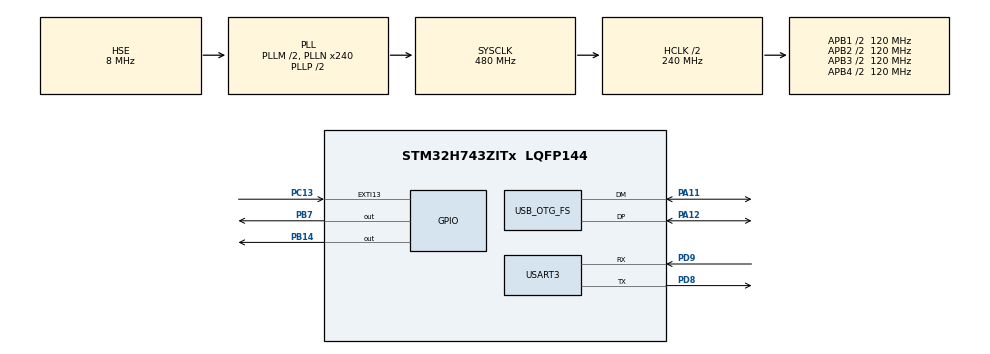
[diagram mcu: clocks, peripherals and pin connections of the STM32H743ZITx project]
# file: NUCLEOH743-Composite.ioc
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CORTEX_M7.default_mode_Activation=1
Dma.Request0=USART3_RX
Dma.Request1=USART3_TX
Dma.USART3_RX.0.Direction=DMA_PERIPH_TO_MEMORY
Dma.USART3_RX.0.EventEnable=DISABLE
Dma.USART3_RX.0.FIFOMode=DMA_FIFOMODE_DISABLE
Dma.USART3_RX.0.Instance=DMA1_Stream0
Dma.USART3_RX.0.MemDataAlignment=DMA_MDATAALIGN_BYTE
Dma.USART3_RX.0.MemInc=DMA_MINC_ENABLE
Dma.USART3_RX.0.Mode=DMA_NORMAL
Dma.USART3_RX.0.PeriphDataAlignment=DMA_PDATAALIGN_BYTE
Dma.USART3_RX.0.PeriphInc=DMA_PINC_DISABLE
Dma.USART3_RX.0.Polarity=HAL_DMAMUX_REQ_GEN_RISING
Dma.USART3_RX.0.Priority=DMA_PRIORITY_LOW
Dma.USART3_RX.0.RequestNumber=1
Dma.USART3_RX.0.SignalID=NONE
Dma.USART3_RX.0.SyncEnable=DISABLE
Dma.USART3_RX.0.SyncPolarity=HAL_DMAMUX_SYNC_NO_EVENT
Dma.USART3_RX.0.SyncRequestNumber=1
Dma.USART3_RX.0.SyncSignalID=NONE
Dma.USART3_TX.1.Direction=DMA_MEMORY_TO_PERIPH
Dma.USART3_TX.1.EventEnable=DISABLE
Dma.USART3_TX.1.FIFOMode=DMA_FIFOMODE_DISABLE
Dma.USART3_TX.1.Instance=DMA1_Stream1
Dma.USART3_TX.1.MemDataAlignment=DMA_MDATAALIGN_BYTE
Dma.USART3_TX.1.MemInc=DMA_MINC_ENABLE
Dma.USART3_TX.1.Mode=DMA_NORMAL
Dma.USART3_TX.1.PeriphDataAlignment=DMA_PDATAALIGN_BYTE
Dma.USART3_TX.1.PeriphInc=DMA_PINC_DISABLE
Dma.USART3_TX.1.Polarity=HAL_DMAMUX_REQ_GEN_RISING
Dma.USART3_TX.1.Priority=DMA_PRIORITY_LOW
Dma.USART3_TX.1.RequestNumber=1
Dma.USART3_TX.1.SignalID=NONE
Dma.USART3_TX.1.SyncEnable=DISABLE
Dma.USART3_TX.1.SyncPolarity=HAL_DMAMUX_SYNC_NO_EVENT
Dma.USART3_TX.1.SyncRequestNumber=1
Dma.USART3_TX.1.SyncSignalID=NONE
Mcu.Family=STM32H7
Mcu.Name=STM32H743ZITx
Mcu.Package=LQFP144
NUCLEO-H743ZI.BUTTON=1
NUCLEO-H743ZI.LD1=true
NUCLEO-H743ZI.LD2=true
NUCLEO-H743ZI.LD3=true
NUCLEO-H743ZI.VCP=false
NVIC.DMA1_Stream0_IRQn=true\:0\:0\:false\:false\:true\:false\:true\:true
NVIC.DMA1_Stream1_IRQn=true\:0\:0\:false\:false\:true\:false\:true\:true
NVIC.EXTI15_10_IRQn=true\:0\:0\:false\:false\:true\:false\:true\:true
NVIC.OTG_FS_EP1_IN_IRQn=true\:0\:0\:false\:false\:true\:true\:true\:true
NVIC.OTG_FS_EP1_OUT_IRQn=true\:0\:0\:false\:false\:true\:true\:true\:true
NVIC.OTG_FS_IRQn=true\:0\:0\:false\:false\:true\:true\:true\:true
NVIC.PriorityGroup=NVIC_PRIORITYGROUP_4
NVIC.TIM15_IRQn=true\:15\:0\:false\:false\:true\:false\:true\:true
NVIC.TimeBase=TIM15_IRQn
NVIC.TimeBaseIP=TIM15
NVIC.USART3_IRQn=true\:0\:0\:false\:false\:true\:true\:true\:true
PA11.Mode=Device_Only
PA11.Signal=USB_OTG_FS_DM
PA12.Mode=Device_Only
PA12.Signal=USB_OTG_FS_DP
PA13\ (JTMS/SWDIO).GPIO_Label=TMS
PA13\ (JTMS/SWDIO).Mode=Serial_Wire
PA13\ (JTMS/SWDIO).Signal=DEBUG_JTMS-SWDIO
PA14\ (JTCK/SWCLK).GPIO_Label=TCK
PA14\ (JTCK/SWCLK).Mode=Serial_Wire
PA14\ (JTCK/SWCLK).Signal=DEBUG_JTCK-SWCLK
PB14.Signal=GPIO_Output
PB3\ (JTDO/TRACESWO).GPIO_Label=SWO
PB3\ (JTDO/TRACESWO).Signal=DEBUG_JTDO-SWO
PB7.Signal=GPIO_Output
PC13.Signal=GPXTI13
PC14-OSC32_IN\ (OSC32_IN).Signal=RCC_OSC32_IN
PC15-OSC32_OUT\ (OSC32_OUT).Signal=RCC_OSC32_OUT
PD8.Mode=Asynchronous
PD8.Signal=USART3_TX
PD9.Mode=Asynchronous
PD9.Signal=USART3_RX
PH0-OSC_IN\ (PH0).Mode=HSE-External-Clock-Source
PH0-OSC_IN\ (PH0).Signal=RCC_OSC_IN
ProjectManager.HeapSize=0x200
ProjectManager.StackSize=0x400
ProjectManager.TargetToolchain=STM32CubeIDE
RCC.48MHZClocksFreq_Value=24000000
RCC.ADCFreq_Value=480000000
RCC.AHBFreq_Value=216000000
RCC.APB1CLKDivider=RCC_HCLK_DIV4
RCC.APB1Freq_Value=120000000
RCC.APB1TimFreq_Value=108000000
RCC.APB2CLKDivider=RCC_HCLK_DIV2
RCC.APB2Freq_Value=120000000
RCC.APB2TimFreq_Value=216000000
RCC.APB3Freq_Value=120000000
RCC.APB4Freq_Value=120000000
RCC.CortexFreq_Value=480000000
RCC.D1PPRE=RCC_APB3_DIV2
RCC.D2PPRE1=RCC_APB1_DIV2
RCC.D2PPRE2=RCC_APB2_DIV2
RCC.D3PPRE=RCC_APB4_DIV2
RCC.DIVM1=2
RCC.DIVM2=2
RCC.DIVM3=2
RCC.DIVN1=240
RCC.DIVN2=240
RCC.DIVN3=240
RCC.DIVQ1=4
RCC.DIVQ3=20
RCC.HCLKFreq_Value=240000000
RCC.HPRE=RCC_HCLK_DIV2
RCC.HSE_VALUE=8000000
RCC.HSI_VALUE=64000000
RCC.PLLM=25
RCC.PLLMUL=RCC_PLL_MUL9
RCC.PLLN=432
RCC.PLLQ=9
RCC.PLLSourceVirtual=RCC_PLLSOURCE_HSE
RCC.PRESCALERUSB=RCC_USBCLKSOURCE_PLL_DIV1_5
RCC.PWR_Regulator_Voltage_Scale=PWR_REGULATOR_VOLTAGE_SCALE0
RCC.SYSCLKFreq_VALUE=480000000
RCC.SYSCLKSource=RCC_SYSCLKSOURCE_PLLCLK
RCC.SYSCLKSourceVirtual=RCC_SYSCLKSOURCE_PLLCLK
RCC.USBCLockSelection=RCC_USBCLKSOURCE_PLL3
RCC.USBFreq_Value=48000000
RCC.VCOOutputFreq_Value=432000000
USART3.VirtualMode-Asynchronous=VM_ASYNC
USB_OTG_FS.VirtualMode=Device_Only
VP_CRC_VS_CRC.Mode=CRC_Activate
VP_MEMORYMAP_VS_MEMORYMAP.Mode=CurAppReg
VP_NUCLEO-H743ZI_VS_BSP_COMMON.Mode=COMMON
VP_SYS_VS_tim15.Mode=TIM15
board=NUCLEO-H743ZI

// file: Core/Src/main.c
/* USER CODE BEGIN Header */
/**
 ******************************************************************************
 * @file           : main.c
 * @brief          : Main program body
 ******************************************************************************
 * @attention
 *
 * Copyright (c) 2025 STMicroelectronics.
 * All rights reserved.
 *
 * This software is licensed under terms that can be found in the LICENSE file
 * in the root directory of this software component.
 * If no LICENSE file comes with this software, it is provided AS-IS.
 *
 ******************************************************************************
 */
/* USER CODE END Header */
#include "main.h"

/* USER CODE BEGIN Includes */
#include "logging.h"

#include "usbd_core.h"
#include "usbd_cdc.h"
#include "usbd_cdc_if.h"
#include "usbd_hid.h"
#include "usbd_desc.h"
#include "usbd_composite_builder.h"

#include <stdio.h>

/* USER CODE END Includes */

CRC_HandleTypeDef hcrc;

UART_HandleTypeDef huart3;
DMA_HandleTypeDef hdma_usart3_rx;
DMA_HandleTypeDef hdma_usart3_tx;

PCD_HandleTypeDef hpcd_USB_OTG_FS;

/* USER CODE BEGIN PV */
uint8_t CDC_EpAdd_Inst[3] = {CDC_IN_EP, CDC_OUT_EP, CDC_CMD_EP}; /* CDC Endpoint Addresses array */
uint8_t HID_EpAdd_Inst = HID_EPIN_ADDR;                          /* HID Endpoint Address array */

USBD_HandleTypeDef hUsbDeviceFS;

uint8_t hid_report_buffer[4];

uint8_t HID_InstID = 0, CDC_InstID = 0;

volatile uint8_t button_pressed_flag = 0;

/* USER CODE END PV */

void SystemClock_Config(void);
static void MPU_Config(void);
static void MX_GPIO_Init(void);
static void MX_DMA_Init(void);
static void MX_CRC_Init(void);
static void MX_USART3_UART_Init(void);

int main(void)
{

  /* USER CODE BEGIN 1 */
  hid_report_buffer[0] = 0;
  hid_report_buffer[1] = 100;
  hid_report_buffer[2] = 0;
  hid_report_buffer[3] = 0;

  /* USER CODE END 1 */

  /* MPU Configuration--------------------------------------------------------*/
  MPU_Config();

  /* MCU Configuration--------------------------------------------------------*/

  /* Reset of all peripherals, Initializes the Flash interface and the Systick. */
  HAL_Init();

  /* Configure the system clock */
  SystemClock_Config();

  /* Initialize all configured peripherals */
  MX_GPIO_Init();
  MX_DMA_Init();
  MX_CRC_Init();
  MX_USART3_UART_Init();
  /* USER CODE BEGIN 2 */
  // start logging to console
  init_dma_logging();

  printf("\033c");
  printf("DUVITECH LLC\r\n");
  printf("USB Composite Demo LLC\r\n");

  printf("Initializing Composite USB Device\r\n");

  /* Initialize the USB Device Library */
  if (USBD_Init(&hUsbDeviceFS, &Class_Desc, 0) != USBD_OK)
  {
    Error_Handler();
  }

  /* Store HID Instance Class ID */
  HID_InstID = hUsbDeviceFS.classId;

  /* Register the HID Class */
  if (USBD_RegisterClassComposite(&hUsbDeviceFS, USBD_HID_CLASS, CLASS_TYPE_HID, &HID_EpAdd_Inst) != USBD_OK)
    Error_Handler();

  /* Store the HID Class */
  CDC_InstID = hUsbDeviceFS.classId;

  /* Register CDC Class First Instance */
  if (USBD_RegisterClassComposite(&hUsbDeviceFS, USBD_CDC_CLASS, CLASS_TYPE_CDC, CDC_EpAdd_Inst) != USBD_OK)
    Error_Handler();

  /* Add CDC Interface Class */
  if (USBD_CMPSIT_SetClassID(&hUsbDeviceFS, CLASS_TYPE_CDC, 0) != 0xFF)
  {
    USBD_CDC_RegisterInterface(&hUsbDeviceFS, &USBD_Interface_fops);
  }

  USBD_Start(&hUsbDeviceFS);
  button_pressed_flag = 0;
  /* USER CODE END 2 */

  /* Initialize leds */
  BSP_LED_Init(LED_GREEN);
  BSP_LED_Init(LED_BLUE);
  BSP_LED_Init(LED_RED);

  /* Initialize USER push-button, will be used to trigger an interrupt each time it's pressed.*/
  BSP_PB_Init(BUTTON_USER, BUTTON_MODE_EXTI);

  printf("Composite USB Device Ready!\r\nPress USER Button to send Message on VCP and HID\r\n");
  /* Infinite loop */
  while (1)
  {

    /* USER CODE BEGIN 3 */
    if (button_pressed_flag == 1)
    {
      USBD_HID_SendReport(&hUsbDeviceFS, hid_report_buffer, 4, HID_InstID);
      CDC_Transmit(&hUsbDeviceFS, (uint8_t*)"Hello\r\n", 7, CDC_InstID);
      HAL_Delay(100);
      button_pressed_flag = 0;
    }
    else
    {
      BSP_LED_Toggle(LED_BLUE);
      HAL_Delay(250);
    }
  }
  /* USER CODE END 3 */
}

void SystemClock_Config(void)
{
  RCC_OscInitTypeDef RCC_OscInitStruct = {0};
  RCC_ClkInitTypeDef RCC_ClkInitStruct = {0};

  /** Supply configuration update enable
   */
  HAL_PWREx_ConfigSupply(PWR_LDO_SUPPLY);

  /** Configure the main internal regulator output voltage
   */
  __HAL_PWR_VOLTAGESCALING_CONFIG(PWR_REGULATOR_VOLTAGE_SCALE0);

  while (!__HAL_PWR_GET_FLAG(PWR_FLAG_VOSRDY))
  {
  }

  /** Initializes the RCC Oscillators according to the specified parameters
   * in the RCC_OscInitTypeDef structure.
   */
  RCC_OscInitStruct.OscillatorType = RCC_OSCILLATORTYPE_HSE;
  RCC_OscInitStruct.HSEState = RCC_HSE_BYPASS;
  RCC_OscInitStruct.PLL.PLLState = RCC_PLL_ON;
  RCC_OscInitStruct.PLL.PLLSource = RCC_PLLSOURCE_HSE;
  RCC_OscInitStruct.PLL.PLLM = 2;
  RCC_OscInitStruct.PLL.PLLN = 240;
  RCC_OscInitStruct.PLL.PLLP = 2;
  RCC_OscInitStruct.PLL.PLLQ = 4;
  RCC_OscInitStruct.PLL.PLLR = 2;
  RCC_OscInitStruct.PLL.PLLRGE = RCC_PLL1VCIRANGE_2;
  RCC_OscInitStruct.PLL.PLLVCOSEL = RCC_PLL1VCOWIDE;
  RCC_OscInitStruct.PLL.PLLFRACN = 0;
  if (HAL_RCC_OscConfig(&RCC_OscInitStruct) != HAL_OK)
  {
    Error_Handler();
  }

  /** Initializes the CPU, AHB and APB buses clocks
   */
  RCC_ClkInitStruct.ClockType = RCC_CLOCKTYPE_HCLK | RCC_CLOCKTYPE_SYSCLK | RCC_CLOCKTYPE_PCLK1 | RCC_CLOCKTYPE_PCLK2 | RCC_CLOCKTYPE_D3PCLK1 | RCC_CLOCKTYPE_D1PCLK1;
  RCC_ClkInitStruct.SYSCLKSource = RCC_SYSCLKSOURCE_PLLCLK;
  RCC_ClkInitStruct.SYSCLKDivider = RCC_SYSCLK_DIV1;
  RCC_ClkInitStruct.AHBCLKDivider = RCC_HCLK_DIV2;
  RCC_ClkInitStruct.APB3CLKDivider = RCC_APB3_DIV2;
  RCC_ClkInitStruct.APB1CLKDivider = RCC_APB1_DIV2;
  RCC_ClkInitStruct.APB2CLKDivider = RCC_APB2_DIV2;
  RCC_ClkInitStruct.APB4CLKDivider = RCC_APB4_DIV2;

  if (HAL_RCC_ClockConfig(&RCC_ClkInitStruct, FLASH_LATENCY_4) != HAL_OK)
  {
    Error_Handler();
  }
}

static void MX_CRC_Init(void)
{

  hcrc.Instance = CRC;
  hcrc.Init.DefaultPolynomialUse = DEFAULT_POLYNOMIAL_ENABLE;
  hcrc.Init.DefaultInitValueUse = DEFAULT_INIT_VALUE_ENABLE;
  hcrc.Init.InputDataInversionMode = CRC_INPUTDATA_INVERSION_NONE;
  hcrc.Init.OutputDataInversionMode = CRC_OUTPUTDATA_INVERSION_DISABLE;
  hcrc.InputDataFormat = CRC_INPUTDATA_FORMAT_BYTES;
  if (HAL_CRC_Init(&hcrc) != HAL_OK)
  {
    Error_Handler();
  }
}

static void MX_USART3_UART_Init(void)
{

  huart3.Instance = USART3;
  huart3.Init.BaudRate = 115200;
  huart3.Init.WordLength = UART_WORDLENGTH_8B;
  huart3.Init.StopBits = UART_STOPBITS_1;
  huart3.Init.Parity = UART_PARITY_NONE;
  huart3.Init.Mode = UART_MODE_TX_RX;
  huart3.Init.HwFlowCtl = UART_HWCONTROL_NONE;
  huart3.Init.OverSampling = UART_OVERSAMPLING_16;
  huart3.Init.OneBitSampling = UART_ONE_BIT_SAMPLE_DISABLE;
  huart3.Init.ClockPrescaler = UART_PRESCALER_DIV1;
  huart3.AdvancedInit.AdvFeatureInit = UART_ADVFEATURE_NO_INIT;
  if (HAL_UART_Init(&huart3) != HAL_OK)
  {
    Error_Handler();
  }
  if (HAL_UARTEx_SetTxFifoThreshold(&huart3, UART_TXFIFO_THRESHOLD_1_8) != HAL_OK)
  {
    Error_Handler();
  }
  if (HAL_UARTEx_SetRxFifoThreshold(&huart3, UART_RXFIFO_THRESHOLD_1_8) != HAL_OK)
  {
    Error_Handler();
  }
  if (HAL_UARTEx_DisableFifoMode(&huart3) != HAL_OK)
  {
    Error_Handler();
  }
}

void MX_USB_OTG_FS_PCD_Init(void)
{

  hpcd_USB_OTG_FS.Instance = USB_OTG_FS;
  hpcd_USB_OTG_FS.Init.dev_endpoints = 9;
  hpcd_USB_OTG_FS.Init.speed = PCD_SPEED_FULL;
  hpcd_USB_OTG_FS.Init.dma_enable = DISABLE;
  hpcd_USB_OTG_FS.Init.phy_itface = PCD_PHY_EMBEDDED;
  hpcd_USB_OTG_FS.Init.Sof_enable = DISABLE;
  hpcd_USB_OTG_FS.Init.low_power_enable = DISABLE;
  hpcd_USB_OTG_FS.Init.lpm_enable = DISABLE;
  hpcd_USB_OTG_FS.Init.battery_charging_enable = DISABLE;
  hpcd_USB_OTG_FS.Init.vbus_sensing_enable = DISABLE;
  hpcd_USB_OTG_FS.Init.use_dedicated_ep1 = DISABLE;
  if (HAL_PCD_Init(&hpcd_USB_OTG_FS) != HAL_OK)
  {
    Error_Handler();
  }
}

static void MX_DMA_Init(void)
{

  /* DMA controller clock enable */
  __HAL_RCC_DMA1_CLK_ENABLE();

  /* DMA interrupt init */
  /* DMA1_Stream0_IRQn interrupt configuration */
  HAL_NVIC_SetPriority(DMA1_Stream0_IRQn, 0, 0);
  HAL_NVIC_EnableIRQ(DMA1_Stream0_IRQn);
  /* DMA1_Stream1_IRQn interrupt configuration */
  HAL_NVIC_SetPriority(DMA1_Stream1_IRQn, 0, 0);
  HAL_NVIC_EnableIRQ(DMA1_Stream1_IRQn);
}

static void MX_GPIO_Init(void)
{

  /* GPIO Ports Clock Enable */
  __HAL_RCC_GPIOC_CLK_ENABLE();
  __HAL_RCC_GPIOH_CLK_ENABLE();
  __HAL_RCC_GPIOD_CLK_ENABLE();
  __HAL_RCC_GPIOA_CLK_ENABLE();
  __HAL_RCC_GPIOB_CLK_ENABLE();

}

/* USER CODE BEGIN 4 */

void HAL_UART_TxCpltCallback(UART_HandleTypeDef *huart)
{
  if (huart->Instance == USART3)
  {
    logging_UART_TxCpltCallback(huart);
  }
}

/**
  * @brief  BSP Push Button callback
  * @param  Button Specifies the pin connected EXTI line
  * @retval None
  */
void BSP_PB_Callback(Button_TypeDef Button)
{
  /* This function should be implemented by the user application.
     It is called into this driver when an event on Button is triggered. */
  if(button_pressed_flag == 0)
  {
	button_pressed_flag = 1;
  }
}

/* USER CODE END 4 */

/* MPU Configuration */

void MPU_Config(void)
{
  MPU_Region_InitTypeDef MPU_InitStruct = {0};

  /* Disables the MPU */
  HAL_MPU_Disable();

  /** Initializes and configures the Region and the memory to be protected
   */
  MPU_InitStruct.Enable = MPU_REGION_ENABLE;
  MPU_InitStruct.Number = MPU_REGION_NUMBER0;
  MPU_InitStruct.BaseAddress = 0x0;
  MPU_InitStruct.Size = MPU_REGION_SIZE_4GB;
  MPU_InitStruct.SubRegionDisable = 0x87;
  MPU_InitStruct.TypeExtField = MPU_TEX_LEVEL0;
  MPU_InitStruct.AccessPermission = MPU_REGION_NO_ACCESS;
  MPU_InitStruct.DisableExec = MPU_INSTRUCTION_ACCESS_DISABLE;
  MPU_InitStruct.IsShareable = MPU_ACCESS_SHAREABLE;
  MPU_InitStruct.IsCacheable = MPU_ACCESS_NOT_CACHEABLE;
  MPU_InitStruct.IsBufferable = MPU_ACCESS_NOT_BUFFERABLE;

  HAL_MPU_ConfigRegion(&MPU_InitStruct);
  /* Enables the MPU */
  HAL_MPU_Enable(MPU_PRIVILEGED_DEFAULT);
}

void HAL_TIM_PeriodElapsedCallback(TIM_HandleTypeDef *htim)
{
  if (htim->Instance == TIM15)
  {
    HAL_IncTick();
  }
}

void Error_Handler(void)
{
  __disable_irq();
  while (1)
  {
  }
}
